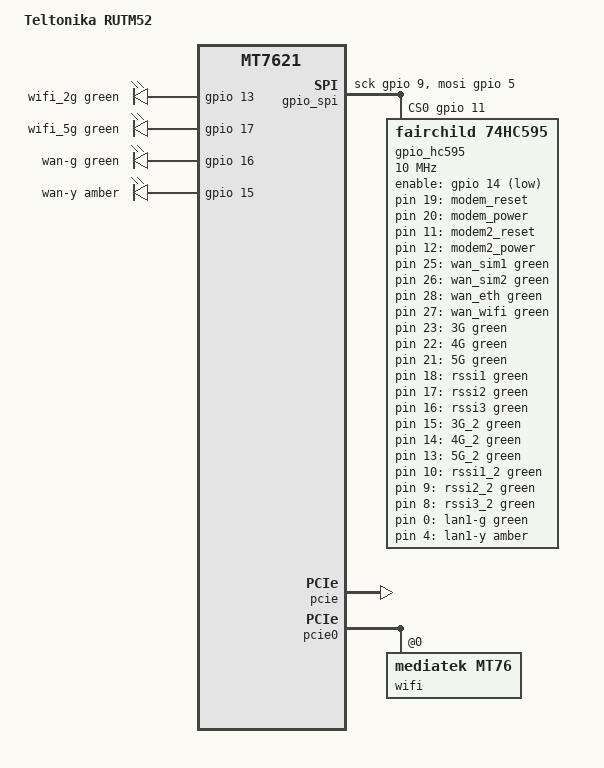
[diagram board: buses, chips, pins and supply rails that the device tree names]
// SPDX-License-Identifier: GPL-2.0-or-later OR MIT
/*
 * Teltonika RUTM52: GPIO and LED pin map from the hardware description
 * shipped in Teltonika RUTM_R_SDK_00.07.26.3.
 */

#include "mt7621_teltonika_rutm-common.dtsi"

/ {
	compatible = "teltonika,rutm52", "mediatek,mt7621-soc";
	model = "Teltonika RUTM52";

	gpio_spi {
		compatible = "spi-gpio";
		#address-cells = <1>;
		#size-cells = <0>;

		sck-gpios = <&gpio 9 GPIO_ACTIVE_HIGH>;
		mosi-gpios = <&gpio 5 GPIO_ACTIVE_HIGH>;
		cs-gpios = <&gpio 11 GPIO_ACTIVE_HIGH>;
		num-chipselects = <1>;

		gpio_hc595: gpio_hc595@0 {
			compatible = "fairchild,74hc595";
			reg = <0>;
			gpio-controller;
			#gpio-cells = <2>;
			registers-number = <4>;
			spi-max-frequency = <10000000>;
			enable-gpios = <&gpio 14 GPIO_ACTIVE_LOW>;

			/* Release the reset of the USB hubs the modems sit behind */
			usb_hub_reset {
				gpio-hog;
				gpios = <29 GPIO_ACTIVE_LOW>;
				output-low;
				line-name = "usb-hub-reset";
			};
		};
	};

	gpio-export {
		compatible = "gpio-export";

		gpio_modem_reset {
			gpio-export,name = "modem_reset";
			gpio-export,output = <0>;
			gpios = <&gpio_hc595 19 GPIO_ACTIVE_HIGH>;
		};

		gpio_modem_power {
			gpio-export,name = "modem_power";
			gpio-export,output = <1>;
			gpios = <&gpio_hc595 20 GPIO_ACTIVE_HIGH>;
		};

		gpio_modem2_reset {
			gpio-export,name = "modem2_reset";
			gpio-export,output = <0>;
			gpios = <&gpio_hc595 11 GPIO_ACTIVE_HIGH>;
		};

		gpio_modem2_power {
			gpio-export,name = "modem2_power";
			gpio-export,output = <1>;
			gpios = <&gpio_hc595 12 GPIO_ACTIVE_HIGH>;
		};
	};

	leds {
		wan_sim1 {
			function = "wan-sim1";
			color = <LED_COLOR_ID_GREEN>;
			gpios = <&gpio_hc595 25 GPIO_ACTIVE_HIGH>;
		};

		wan_sim2 {
			function = "wan-sim2";
			color = <LED_COLOR_ID_GREEN>;
			gpios = <&gpio_hc595 26 GPIO_ACTIVE_HIGH>;
		};

		wan_eth {
			function = "wan-eth";
			color = <LED_COLOR_ID_GREEN>;
			gpios = <&gpio_hc595 28 GPIO_ACTIVE_HIGH>;
		};

		wan_wifi {
			function = "wan-wifi";
			color = <LED_COLOR_ID_GREEN>;
			gpios = <&gpio_hc595 27 GPIO_ACTIVE_HIGH>;
		};

		wifi_2g {
			function = LED_FUNCTION_WLAN_2GHZ;
			color = <LED_COLOR_ID_GREEN>;
			gpios = <&gpio 13 GPIO_ACTIVE_HIGH>;
			linux,default-trigger = "phy0tpt";
		};

		wifi_5g {
			function = LED_FUNCTION_WLAN_5GHZ;
			color = <LED_COLOR_ID_GREEN>;
			gpios = <&gpio 17 GPIO_ACTIVE_HIGH>;
			linux,default-trigger = "phy1tpt";
		};

		3G {
			function = "3G";
			color = <LED_COLOR_ID_GREEN>;
			gpios = <&gpio_hc595 23 GPIO_ACTIVE_HIGH>;
		};

		4G {
			function = "4G";
			color = <LED_COLOR_ID_GREEN>;
			gpios = <&gpio_hc595 22 GPIO_ACTIVE_HIGH>;
		};

		5G {
			function = "5G";
			color = <LED_COLOR_ID_GREEN>;
			gpios = <&gpio_hc595 21 GPIO_ACTIVE_HIGH>;
		};

		rssi1 {
			function = "rssi-1";
			color = <LED_COLOR_ID_GREEN>;
			gpios = <&gpio_hc595 18 GPIO_ACTIVE_HIGH>;
		};

		rssi2 {
			function = "rssi-2";
			color = <LED_COLOR_ID_GREEN>;
			gpios = <&gpio_hc595 17 GPIO_ACTIVE_HIGH>;
		};

		rssi3 {
			function = "rssi-3";
			color = <LED_COLOR_ID_GREEN>;
			gpios = <&gpio_hc595 16 GPIO_ACTIVE_HIGH>;
		};

		3G_2 {
			function = "3G";
			function-enumerator = <2>;
			color = <LED_COLOR_ID_GREEN>;
			gpios = <&gpio_hc595 15 GPIO_ACTIVE_HIGH>;
		};

		4G_2 {
			function = "4G";
			function-enumerator = <2>;
			color = <LED_COLOR_ID_GREEN>;
			gpios = <&gpio_hc595 14 GPIO_ACTIVE_HIGH>;
		};

		5G_2 {
			function = "5G";
			function-enumerator = <2>;
			color = <LED_COLOR_ID_GREEN>;
			gpios = <&gpio_hc595 13 GPIO_ACTIVE_HIGH>;
		};

		rssi1_2 {
			function = "rssi-1";
			function-enumerator = <2>;
			color = <LED_COLOR_ID_GREEN>;
			gpios = <&gpio_hc595 10 GPIO_ACTIVE_HIGH>;
		};

		rssi2_2 {
			function = "rssi-2";
			function-enumerator = <2>;
			color = <LED_COLOR_ID_GREEN>;
			gpios = <&gpio_hc595 9 GPIO_ACTIVE_HIGH>;
		};

		rssi3_2 {
			function = "rssi-3";
			function-enumerator = <2>;
			color = <LED_COLOR_ID_GREEN>;
			gpios = <&gpio_hc595 8 GPIO_ACTIVE_HIGH>;
		};

		lan1-g {
			function = LED_FUNCTION_LAN;
			function-enumerator = <1>;
			color = <LED_COLOR_ID_GREEN>;
			gpios = <&gpio_hc595 0 GPIO_ACTIVE_HIGH>;
			linux,default-trigger = "mt7530-0:00:1Gbps";
		};

		lan1-y {
			function = LED_FUNCTION_LAN;
			function-enumerator = <1>;
			color = <LED_COLOR_ID_AMBER>;
			gpios = <&gpio_hc595 4 GPIO_ACTIVE_HIGH>;
			linux,default-trigger = "mt7530-0:00:100Mbps";
		};

		lan2-g {
			function = LED_FUNCTION_LAN;
			function-enumerator = <2>;
			color = <LED_COLOR_ID_GREEN>;
			gpios = <&gpio_hc595 1 GPIO_ACTIVE_HIGH>;
			linux,default-trigger = "mt7530-0:01:1Gbps";
		};

		lan2-y {
			function = LED_FUNCTION_LAN;
			function-enumerator = <2>;
			color = <LED_COLOR_ID_AMBER>;
			gpios = <&gpio_hc595 5 GPIO_ACTIVE_HIGH>;
			linux,default-trigger = "mt7530-0:01:100Mbps";
		};

		lan3-g {
			function = LED_FUNCTION_LAN;
			function-enumerator = <3>;
			color = <LED_COLOR_ID_GREEN>;
			gpios = <&gpio_hc595 2 GPIO_ACTIVE_HIGH>;
			linux,default-trigger = "mt7530-0:02:1Gbps";
		};

		lan3-y {
			function = LED_FUNCTION_LAN;
			function-enumerator = <3>;
			color = <LED_COLOR_ID_AMBER>;
			gpios = <&gpio_hc595 6 GPIO_ACTIVE_HIGH>;
			linux,default-trigger = "mt7530-0:02:100Mbps";
		};

		lan4-g {
			function = LED_FUNCTION_LAN;
			function-enumerator = <4>;
			color = <LED_COLOR_ID_GREEN>;
			gpios = <&gpio_hc595 3 GPIO_ACTIVE_LOW>;
			linux,default-trigger = "mt7530-0:03:1Gbps";
		};

		lan4-y {
			function = LED_FUNCTION_LAN;
			function-enumerator = <4>;
			color = <LED_COLOR_ID_AMBER>;
			gpios = <&gpio_hc595 7 GPIO_ACTIVE_LOW>;
			linux,default-trigger = "mt7530-0:03:100Mbps";
		};

		wan-g {
			function = LED_FUNCTION_WAN;
			color = <LED_COLOR_ID_GREEN>;
			gpios = <&gpio 16 GPIO_ACTIVE_HIGH>;
			linux,default-trigger = "mt7530-0:04:1Gbps";
		};

		wan-y {
			function = LED_FUNCTION_WAN;
			color = <LED_COLOR_ID_AMBER>;
			gpios = <&gpio 15 GPIO_ACTIVE_HIGH>;
			linux,default-trigger = "mt7530-0:04:100Mbps";
		};
	};
};

&switch0 {
	ports {
		port@0 {
			status = "okay";
			label = "lan1";
		};

		port@1 {
			status = "okay";
			label = "lan2";
		};

		port@2 {
			status = "okay";
			label = "lan3";
		};

		port@3 {
			status = "okay";
			label = "lan4";
		};
	};
};

&pcie {
	status = "okay";
};

&pcie0 {
	wifi@0,0 {
		compatible = "mediatek,mt76";
		reg = <0x0000 0 0 0 0>;
		nvmem-cells = <&eeprom_factory_0>;
		nvmem-cell-names = "eeprom";
		#address-cells = <1>;
		#size-cells = <0>;

		band@0 {
			reg = <0>;
			nvmem-cells = <&macaddr_config_0 2>;
			nvmem-cell-names = "mac-address";
		};

		band@1 {
			reg = <1>;
			nvmem-cells = <&macaddr_config_0 3>;
			nvmem-cell-names = "mac-address";
		};
	};
};
